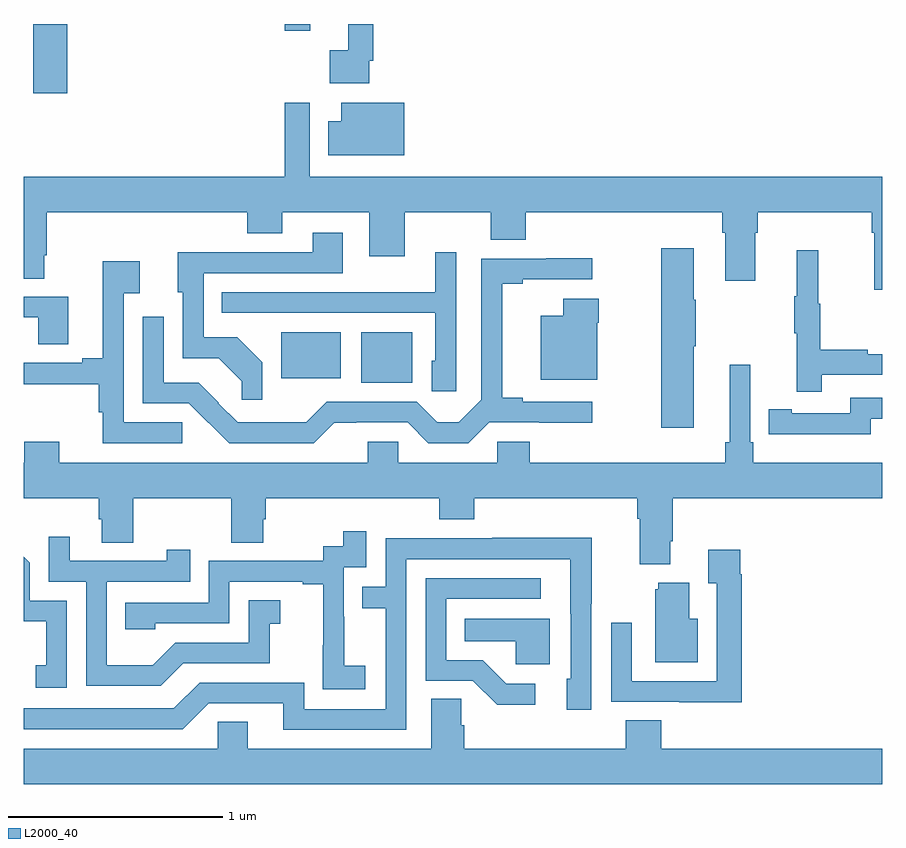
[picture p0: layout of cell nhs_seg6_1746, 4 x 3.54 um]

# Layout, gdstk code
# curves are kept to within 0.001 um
import gdstk
lib = gdstk.Library(unit=1e-6, precision=1e-09)
def R(c, l, rs):  # rectangles x0, y0, x1, y1
    for r in rs: c.add(gdstk.rectangle(r[:2], r[2:], *l))
def P(c, l, *ps):  # polygons
    for p in ps: c.add(gdstk.Polygon(p, *l))
L2000_40 = (2000, 40)

nhs_seg6_1746 = lib.new_cell('nhs_seg6_1746')
R(nhs_seg6_1746, L2000_40, [(216.572,991.829,216.811,992.065), (216.2,991.85,216.478,992.065), (215.044,993.177,215.204,993.5), (216.217,993.468,216.335,993.5)])
P(nhs_seg6_1746, L2000_40, [(216.609,993.328),(216.629,993.328),(216.629,993.5),(216.512,993.5),(216.512,993.377),(216.426,993.377),(216.426,993.224),(216.609,993.224)],
  [(216.772,993.133),(216.479,993.133),(216.479,993.046),(216.418,993.046),(216.418,992.888),(216.772,992.888)],
  [(215,992.314),(215.095,992.314),(215.095,992.422),(215.108,992.422),(215.108,992.624),(216.041,992.624),(216.041,992.525),(216.205,992.525),(216.205,992.624),(216.611,992.624),(216.611,992.418),(216.775,992.418),(216.775,992.624),(217.175,992.624),(217.175,992.496),(217.339,992.496),(217.339,992.624),(218.255,992.624),(218.255,992.528),(218.267,992.528),(218.267,992.304),(218.407,992.304),(218.407,992.528),(218.42,992.528),(218.42,992.624),(218.951,992.624),(218.951,992.528),(218.963,992.528),(218.963,992.262),(219,992.262),(219,992.788),(216.333,992.788),(216.333,993.133),(216.217,993.133),(216.217,992.788),(215,992.788)],
  [(216.111,991.924),(215.995,992.04),(215.838,992.04),(215.838,992.34),(216.487,992.34),(216.487,992.527),(216.347,992.527),(216.347,992.436),(215.935,992.436),(215.935,992.438),(215.717,992.438),(215.717,992.25),(215.742,992.25),(215.742,991.944),(215.908,991.944),(216.016,991.836),(216.016,991.749),(216.111,991.749)],
  [(218.122,991.999),(218.13,991.999),(218.13,992.216),(218.122,992.216),(218.122,992.455),(217.969,992.455),(217.969,991.62),(218.122,991.62)],
  [(218.717,991.866),(219,991.866),(219,991.962),(218.933,991.962),(218.933,991.982),(218.71,991.982),(218.71,992.196),(218.702,992.196),(218.702,992.446),(218.6,992.446),(218.6,992.233),(218.589,992.233),(218.589,992.059),(218.6,992.059),(218.6,991.788),(218.717,991.788)],
  [(217.014,992.437),(216.917,992.437),(216.917,992.251),(216.583,992.251),(216.583,992.25),(215.923,992.25),(215.923,992.154),(216.918,992.154),(216.918,991.932),(216.902,991.932),(216.902,991.789),(217.014,991.789)],
  [(216.446,991.643),(216.789,991.644),(216.885,991.548),(217.072,991.548),(217.168,991.644),(217.648,991.643),(217.648,991.74),(217.324,991.74),(217.324,991.76),(217.229,991.76),(217.229,992.29),(217.324,992.29),(217.324,992.31),(217.648,992.31),(217.648,992.408),(217.435,992.408),(217.435,992.406),(217.131,992.406),(217.131,991.749),(217.027,991.645),(216.926,991.645),(216.831,991.74),(216.411,991.74),(216.317,991.646),(216.212,991.646),(216.212,991.644),(215.997,991.644),(215.907,991.734),(215.909,991.736),(215.815,991.83),(215.652,991.83),(215.652,992.137),(215.556,992.137),(215.556,991.734),(215.769,991.734),(215.957,991.548),(216.351,991.548)],
  [(215.739,991.644),(215.466,991.644),(215.466,992.246),(215.542,992.246),(215.542,992.395),(215.369,992.395),(215.369,991.943),(215.273,991.943),(215.273,991.923),(215,991.923),(215,991.822),(215.35,991.822),(215.35,991.691),(215.369,991.691),(215.369,991.548),(215.739,991.548)],
  [(215.209,992.229),(215,992.229),(215,992.133),(215.069,992.133),(215.069,992.008),(215.209,992.008)],
  [(217.672,992.108),(217.68,992.108),(217.68,992.221),(217.514,992.221),(217.514,992.14),(217.409,992.14),(217.409,991.844),(217.672,991.844)],
  [(218.011,991.09),(218.024,991.09),(218.024,991.292),(219,991.292),(219,991.456),(218.399,991.456),(218.399,991.552),(218.385,991.552),(218.385,991.912),(218.288,991.912),(218.288,991.552),(218.269,991.552),(218.269,991.456),(217.358,991.456),(217.358,991.554),(217.206,991.554),(217.206,991.456),(216.744,991.456),(216.744,991.554),(216.602,991.554),(216.602,991.456),(215.167,991.456),(215.167,991.555),(215.003,991.555),(215.003,991.456),(215,991.456),(215,991.292),(215.351,991.292),(215.351,991.194),(215.363,991.194),(215.363,991.084),(215.511,991.084),(215.511,991.292),(215.968,991.292),(215.968,991.084),(216.115,991.084),(216.115,991.194),(216.128,991.194),(216.128,991.292),(216.935,991.292),(216.935,991.193),(217.1,991.193),(217.1,991.292),(217.859,991.292),(217.859,991.196),(217.871,991.196),(217.871,990.983),(218.011,990.983)],
  [(218.946,991.662),(219,991.662),(219,991.758),(218.85,991.758),(218.85,991.686),(218.578,991.686),(218.578,991.706),(218.47,991.706),(218.47,991.59),(218.578,991.59),(218.578,991.589),(218.946,991.589)],
  [(216.592,990.511),(216.494,990.511),(216.494,990.74),(216.492,990.74),(216.492,990.969),(216.597,990.969),(216.597,991.138),(216.489,991.138),(216.489,991.068),(216.396,991.068),(216.396,990.999),(215.862,990.999),(215.862,990.804),(215.473,990.804),(215.473,990.681),(215.613,990.681),(215.613,990.708),(215.958,990.708),(215.958,990.903),(216.299,990.903),(216.299,990.891),(216.395,990.891),(216.395,990.607),(216.394,990.607),(216.394,990.401),(216.592,990.401)],
  [(215.743,990.522),(216.147,990.522),(216.147,990.707),(216.196,990.707),(216.196,990.817),(216.048,990.817),(216.048,990.618),(215.706,990.618),(215.602,990.514),(215.388,990.514),(215.388,990.903),(215.777,990.903),(215.777,991.051),(215.666,991.051),(215.666,990.999),(215.215,990.999),(215.215,991.111),(215.118,991.111),(215.118,990.903),(215.292,990.903),(215.292,990.417),(215.638,990.417)],
  [(216.783,991.008),(217.547,991.008),(217.548,990.45),(217.529,990.45),(217.529,990.306),(217.644,990.306),(217.644,990.799),(217.647,990.799),(217.647,991.106),(217.183,991.106),(217.183,991.104),(216.687,991.104),(216.687,990.879),(216.577,990.879),(216.577,990.778),(216.687,990.778),(216.687,990.309),(216.306,990.309),(216.306,990.432),(215.82,990.432),(215.7,990.312),(215,990.312),(215,990.216),(215.742,990.216),(215.862,990.336),(216.209,990.336),(216.209,990.213),(216.783,990.213)],
  [(218.345,990.938),(218.338,990.938),(218.338,991.051),(218.189,991.051),(218.189,990.895),(218.229,990.895),(218.229,990.438),(217.833,990.438),(217.833,990.712),(217.737,990.712),(217.737,990.342),(218.053,990.342),(218.053,990.341),(218.345,990.341)],
  [(215.202,990.813),(215.028,990.813),(215.028,990.99),(215,991.018),(215,990.717),(215.105,990.717),(215.105,990.513),(215.056,990.513),(215.056,990.408),(215.202,990.408)],
  [(217.384,990.426),(217.249,990.426),(217.138,990.537),(216.969,990.537),(216.969,990.822),(217.408,990.822),(217.408,990.918),(216.873,990.918),(216.873,990.441),(217.092,990.441),(217.205,990.329),(217.384,990.329)],
  [(218.14,990.73),(218.101,990.73),(218.101,990.898),(217.955,990.898),(217.955,990.867),(217.943,990.867),(217.943,990.527),(218.14,990.527)],
  [(217.45,990.73),(217.054,990.73),(217.054,990.626),(217.293,990.626),(217.293,990.518),(217.45,990.518)],
  [(219,990.124),(217.97,990.124),(217.97,990.257),(217.805,990.257),(217.805,990.124),(217.052,990.124),(217.052,990.233),(217.038,990.233),(217.038,990.356),(216.899,990.356),(216.899,990.124),(216.043,990.124),(216.043,990.251),(215.904,990.251),(215.904,990.124),(215,990.124),(215,989.96),(219,989.96)])

lib.write_gds('nhs_seg6_1746.gds')
